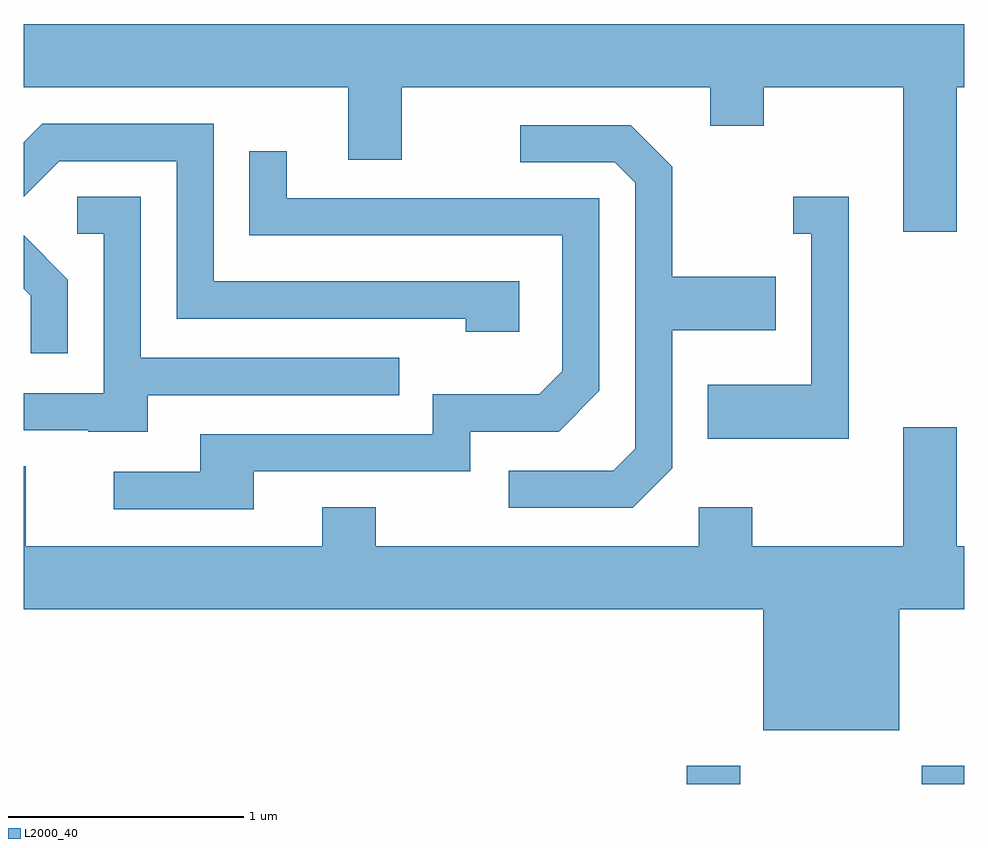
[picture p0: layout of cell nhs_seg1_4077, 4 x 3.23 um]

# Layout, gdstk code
import gdstk
lib = gdstk.Library(unit=1e-6, precision=1e-09)
def R(c, l, rs):  # rectangles x0, y0, x1, y1
    for r in rs: c.add(gdstk.rectangle(r[:2], r[2:], *l))
def P(c, l, *ps):  # polygons
    for p in ps: c.add(gdstk.Polygon(p, *l))
L2000_40 = (2000, 40)

nhs_seg1_4077 = lib.new_cell('nhs_seg1_4077')
R(nhs_seg1_4077, L2000_40, [(310.431,907.712,310.659,907.789), (311.431,907.712,311.611,907.789)])
P(nhs_seg1_4077, L2000_40, [(311.579,910.676),(311.611,910.676),(311.611,910.944),(307.611,910.944),(307.611,910.676),(308.991,910.676),(308.991,910.366),(309.219,910.366),(309.219,910.676),(310.531,910.676),(310.531,910.511),(310.759,910.511),(310.759,910.676),(311.351,910.676),(311.351,910.061),(311.579,910.061)],
  [(309.719,909.849),(308.419,909.849),(308.419,910.519),(307.689,910.519),(307.611,910.441),(307.611,910.21),(307.762,910.361),(308.261,910.361),(308.261,909.691),(309.491,909.691),(309.491,909.636),(309.719,909.636)],
  [(310.369,909.054),(310.369,909.641),(310.809,909.641),(310.809,909.869),(310.369,909.869),(310.369,910.337),(310.192,910.514),(309.723,910.514),(309.723,910.356),(310.124,910.356),(310.211,910.269),(310.211,909.137),(310.119,909.044),(309.673,909.044),(309.673,908.886),(310.202,908.886)],
  [(308.589,909.041),(309.509,909.041),(309.509,909.211),(309.887,909.211),(310.059,909.384),(310.059,910.204),(308.729,910.204),(308.729,910.403),(308.571,910.403),(308.571,910.046),(309.901,910.046),(309.901,909.467),(309.804,909.369),(309.351,909.369),(309.351,909.199),(308.361,909.199),(308.361,909.039),(307.993,909.039),(307.993,908.881),(308.589,908.881)],
  [(308.139,909.366),(309.208,909.366),(309.208,909.524),(308.109,909.524),(308.109,910.209),(307.838,910.209),(307.838,910.051),(307.951,910.051),(307.951,909.374),(307.611,909.374),(307.611,909.216),(307.885,909.216),(307.885,909.211),(308.139,909.211)],
  [(311.119,910.209),(310.883,910.209),(310.883,910.051),(310.961,910.051),(310.961,909.409),(310.521,909.409),(310.521,909.181),(311.119,909.181)],
  [(307.799,909.857),(307.611,910.045),(307.611,909.819),(307.641,909.789),(307.641,909.543),(307.799,909.543)],
  [(311.334,908.456),(311.611,908.456),(311.611,908.724),(311.579,908.724),(311.579,909.229),(311.351,909.229),(311.351,908.724),(310.709,908.724),(310.709,908.889),(310.481,908.889),(310.481,908.724),(309.109,908.724),(309.109,908.889),(308.881,908.889),(308.881,908.724),(307.619,908.724),(307.619,909.064),(307.611,909.064),(307.611,908.456),(310.756,908.456),(310.756,907.941),(311.334,907.941)])

lib.write_gds('nhs_seg1_4077.gds')
